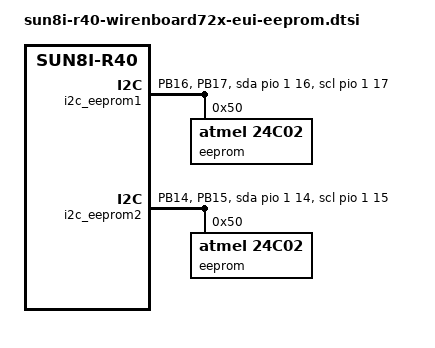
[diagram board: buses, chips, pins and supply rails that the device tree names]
#include <dt-bindings/gpio/gpio.h>

/ {
	/* JTAG_SEL SoC pin must be left floating! Otherwise pins PB14-PB17 are used for JTAG
	   regardless of pinmux settings!
	*/
	i2c_eeprom1: i2c_eeprom1 {
		compatible = "i2c-gpio";

		#address-cells = <1>;
		#size-cells = <0>;

		sda-gpios = <&pio 1 16 (GPIO_ACTIVE_HIGH | GPIO_OPEN_DRAIN)>;
		scl-gpios = <&pio 1 17 (GPIO_ACTIVE_HIGH | GPIO_OPEN_DRAIN)>;

		i2c-gpio,delay-us = <10>;        /* ~100 kHz */

		pinctrl-names = "default";
		pinctrl-0 = <&i2c_eeprom1_pins>;

		eeprom@50 {
			compatible = "atmel,24c02";
			reg = <0x50>;

			#address-cells = <1>;
			#size-cells = <1>;

			eth0_mac_address: mac@80 {
				reg = <0xfa 0x6>;
			};
		};
	};

	i2c_eeprom2: i2c_eeprom2 {
		compatible = "i2c-gpio";

		#address-cells = <1>;
		#size-cells = <0>;

		sda-gpios = <&pio 1 14 (GPIO_ACTIVE_HIGH | GPIO_OPEN_DRAIN)>;
		scl-gpios = <&pio 1 15 (GPIO_ACTIVE_HIGH | GPIO_OPEN_DRAIN)>;

		i2c-gpio,delay-us = <10>;        /* ~100 kHz */

		pinctrl-names = "default";
		pinctrl-0 = <&i2c_eeprom2_pins>;

		eeprom@50 {
			compatible = "atmel,24c02";
			reg = <0x50>;

			#address-cells = <1>;
			#size-cells = <1>;

			/* To make it work make sure local-mac-address property is not set by U-Boot */
			eth1_mac_address: mac@80 {
				reg = <0xfa 0x6>;
			};
		};
	};
};

&pio {
	i2c_eeprom1_pins: i2c-eeprom1-pins {
		pins = "PB16", "PB17";
		function = "gpio_in";
		bias-pull-up;
	};

	i2c_eeprom2_pins: i2c-eeprom2-pins {
		pins = "PB14", "PB15";
		function = "gpio_in";
		bias-pull-up;
	};
};

/* Ethernet ports */
/* To make it work make sure local-mac-address property is not set by U-Boot */
&gmac {
	nvmem-cells = <&eth0_mac_address>;
	nvmem-cell-names = "mac-address";
};

&emac {
	nvmem-cells = <&eth1_mac_address>;
	nvmem-cell-names = "mac-address";
};
